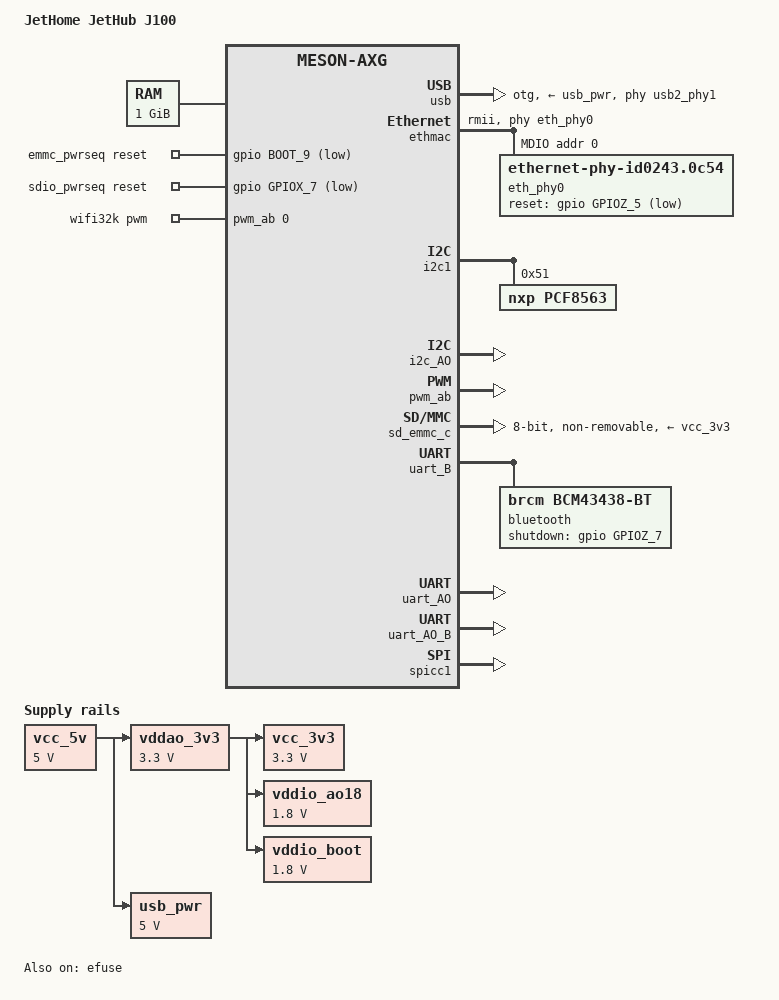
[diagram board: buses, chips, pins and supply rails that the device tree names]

/dts-v1/;

#include "meson-axg.dtsi"
#include <dt-bindings/input/input.h>
#include <dt-bindings/thermal/thermal.h>

/ {
	compatible = "jethome,j100", "amlogic,a113d", "amlogic,meson-axg";
	model = "JetHome JetHub J100";
	amlogic-dt-id = "axg_jethubj100_v1";

	aliases {
		serial0 = &uart_AO;   /* Console */
		serial1 = &uart_B;    /* Bluetooth */
		serial2 = &uart_AO_B; /* External UART (Wireless Module) */
		ethernet0 = &ethmac;
	};

	chosen {
		stdout-path = "serial0:115200n8";
	};

	/* 1024MB RAM */
	memory@0 {
		device_type = "memory";
		reg = <0x0 0x0 0x0 0x40000000>;
	};

	reserved-memory {
		#address-cells = <2>;
		#size-cells = <2>;
		ranges;
		linux,cma {
			compatible = "shared-dma-pool";
			reusable; size = <0x0 0x400000>;
			alignment = <0x0 0x400000>;
			linux,cma-default;
		};
	};

	emmc_pwrseq: emmc-pwrseq {
		compatible = "mmc-pwrseq-emmc";
		reset-gpios = <&gpio BOOT_9 GPIO_ACTIVE_LOW>;
	};

	vcc_3v3: regulator-vcc_3v3 {
		compatible = "regulator-fixed";
		regulator-name = "VCC_3V3";
		regulator-min-microvolt = <3300000>;
		regulator-max-microvolt = <3300000>;
		vin-supply = <&vddao_3v3>;
		regulator-always-on;
	};

	vcc_5v: regulator-vcc_5v {
		compatible = "regulator-fixed";
		regulator-name = "VCC5V";
		regulator-min-microvolt = <5000000>;
		regulator-max-microvolt = <5000000>;
		regulator-always-on;
	};

	vddao_3v3: regulator-vddao_3v3 {
		compatible = "regulator-fixed";
		regulator-name = "VDDAO_3V3";
		regulator-min-microvolt = <3300000>;
		regulator-max-microvolt = <3300000>;
		vin-supply = <&vcc_5v>;
		regulator-always-on;
	};

	vddio_ao18: regulator-vddio_ao18 {
		compatible = "regulator-fixed";
		regulator-name = "VDDIO_AO18";
		regulator-min-microvolt = <1800000>;
		regulator-max-microvolt = <1800000>;
		vin-supply = <&vddao_3v3>;
		regulator-always-on;
	};

	vddio_boot: regulator-vddio_boot {
		compatible = "regulator-fixed";
		regulator-name = "VDDIO_BOOT";
		regulator-min-microvolt = <1800000>;
		regulator-max-microvolt = <1800000>;
		vin-supply = <&vddao_3v3>;
		regulator-always-on;
	};

	usb_pwr: regulator-usb_pwr {
		compatible = "regulator-fixed";
		regulator-name = "USB_PWR";
		regulator-min-microvolt = <5000000>;
		regulator-max-microvolt = <5000000>;
		vin-supply = <&vcc_5v>;
		regulator-always-on;
	};

	sdio_pwrseq: sdio-pwrseq {
		compatible = "mmc-pwrseq-simple";
		reset-gpios = <&gpio GPIOX_7 GPIO_ACTIVE_LOW>;
		clocks = <&wifi32k>;
		clock-names = "ext_clock";
	};

	wifi32k: wifi32k {
		compatible = "pwm-clock";
		#clock-cells = <0>;
		clock-frequency = <32768>;
		pwms = <&pwm_ab 0 30518 0>; /* PWM_A at 32.768KHz */
	};

	partitions: partitions {
		parts = <1>;
		part-0 = <&rootfs>;
		rootfs: rootfs {
			pname = "rootfs";
			size = <0xffffffff 0xffffffff>;
			mask = <4>;
		};
	};

	efusekey: efusekey {
		keynum = <5>;
		key0 = <&key_0>;
		key1 = <&key_1>;
		key2 = <&key_2>;
		key3 = <&key_3>;
		key4 = <&key_4>;

		key_0: key_0 {
			keyname = "mac";
			offset = <0>;
			size = <6>;
		};
		key_1: key_1 {
			keyname = "mac_bt";
			offset = <6>;
			size = <6>;
		};
		key_2: key_2 {
			keyname = "mac_wifi";
			offset = <12>;
			size = <6>;
		};
		key_3: key_3 {
			keyname = "usid";
			offset = <18>;
			size = <32>;
		};
		key_4: key_4 {
			keyname = "serial";
			offset = <50>;
			size = <32>;
		};
	}; //End efusekey

	unifykey {
		compatible = "amlogic, unifykey";
		status = "ok";
		unifykey-num = <6>;
		unifykey-index-0 = <&keysn_0>;
		unifykey-index-1 = <&keysn_1>;
		unifykey-index-2 = <&keysn_2>;
		unifykey-index-3 = <&keysn_3>;
		unifykey-index-4 = <&keysn_4>;
		unifykey-index-5 = <&keysn_5>;

		keysn_0: key_0 {
			key-name = "usid";
			key-device = "normal";
			key-permit = "read";
		};
		keysn_1: key_1 {
			key-name = "mac";
			key-device = "normal";
			key-permit = "read";
		};
		keysn_2: key_2 {
			key-name = "mac_bt";
			key-device = "normal";
			key-permit = "read","write","del";
			key-type  = "mac";
		};
		keysn_3: key_3 {
			key-name = "mac_wifi";
			key-device = "normal";
			key-permit = "read","write","del";
			key-type = "mac";
		};
		keysn_4: key_4 {
			key-name = "serial";
			key-device = "normal";
			key-permit = "read";
		};
		keysn_5:key_5 {
			key-name = "deviceid";
			key-device = "normal";
			key-permit = "read","write","del";
		};
	}; //End unifykey
	soc {
		usb: usb@ffe09080 {
			compatible = "amlogic,meson-gxl-usb-ctrl";
			reg = <0x0 0xffe09080 0x0 0x20>;
			interrupts = <GIC_SPI 16 IRQ_TYPE_LEVEL_HIGH>;
			#address-cells = <2>;
			#size-cells = <2>;
			ranges;

			clocks = <&clkc CLKID_USB>, <&clkc CLKID_USB1_DDR_BRIDGE>;
			clock-names = "usb_ctrl", "ddr";
			resets = <&reset RESET_USB_OTG>;

			dr_mode = "otg";

			phys = <&usb2_phy1>;
			phy-names = "usb2-phy1";

			dwc2: usb@ff400000 {
				compatible = "amlogic,meson-gxl-usb", "snps,dwc2";
				reg = <0x0 0xff400000 0x0 0x40000>;
				interrupts = <GIC_SPI 31 IRQ_TYPE_LEVEL_HIGH>;
				clocks = <&clkc CLKID_USB1>;
				clock-names = "otg";
				phys = <&usb2_phy1>;
				dr_mode = "peripheral";
				g-rx-fifo-size = <192>;
				g-np-tx-fifo-size = <128>;
				g-tx-fifo-size = <128 128 16 16 16>;
			};

			dwc3: usb@ff500000 {
				compatible = "snps,dwc3";
				reg = <0x0 0xff500000 0x0 0x100000>;
				interrupts = <GIC_SPI 30 IRQ_TYPE_LEVEL_HIGH>;
				dr_mode = "host";
				maximum-speed = "high-speed";
				snps,dis_u2_susphy_quirk;
			};
		};
	};
	
	thermal-zones {
		cpu_thermal: cpu-thermal {
			polling-delay-passive = <250>;
			polling-delay = <1000>;
			thermal-sensors = <&scpi_sensors 0>;

			trips {
				cpu_passive: cpu-passive {
					temperature = <70000>; /* millicelsius */
					hysteresis = <2000>; /* millicelsius */
					type = "passive";
				};

				cpu_hot: cpu-hot {
					temperature = <80000>; /* millicelsius */
					hysteresis = <2000>; /* millicelsius */
					type = "hot";
				};

				cpu_critical: cpu-critical {
					temperature = <100000>; /* millicelsius */
					hysteresis = <2000>; /* millicelsius */
					type = "critical";
				};
			};
		};
		cpu_cooling_maps: cooling-maps {
			map0 {
				trip = <&cpu_passive>;
				cooling-device = <&cpu0 THERMAL_NO_LIMIT THERMAL_NO_LIMIT>,
						 <&cpu1 THERMAL_NO_LIMIT THERMAL_NO_LIMIT>,
						 <&cpu2 THERMAL_NO_LIMIT THERMAL_NO_LIMIT>,
						 <&cpu3 THERMAL_NO_LIMIT THERMAL_NO_LIMIT>;
			};

			map1 {
				trip = <&cpu_hot>;
				cooling-device = <&cpu0 THERMAL_NO_LIMIT THERMAL_NO_LIMIT>,
						 <&cpu1 THERMAL_NO_LIMIT THERMAL_NO_LIMIT>,
						 <&cpu2 THERMAL_NO_LIMIT THERMAL_NO_LIMIT>,
						 <&cpu3 THERMAL_NO_LIMIT THERMAL_NO_LIMIT>;
			};
		};
	};

};

&ethmac {
	status = "okay";
	pinctrl-0 = <&eth_rmii_x_pins>;
	pinctrl-names = "default";
	phy-handle = <&eth_phy0>;
	phy-mode = "rmii";
	internal_phy=<0>;
	interrupts = <GIC_SPI 8 IRQ_TYPE_LEVEL_HIGH>;

	mdio {
		compatible = "snps,dwmac-mdio";
		#address-cells = <1>;
		#size-cells = <0>;

		/* ICPlus IP101A/G Ethernet PHY (vendor_id=0x0243, model_id=0x0c54) */
		eth_phy0: ethernet-phy@0 {
			compatible = "ethernet-phy-id0243.0c54";
			max-speed = <100>;
			reg = <0>;

			reset-assert-us = <10000>;
			reset-deassert-us = <10000>;
			reset-gpios = <&gpio GPIOZ_5 GPIO_ACTIVE_LOW>;
		};
	};
};

/* Internal I2C bus (on CPU module) */
&i2c1 {
	status = "okay";
	pinctrl-0 = <&i2c1_z_pins>;
	pinctrl-names = "default";

	/* RTC */
	pcf8563: pcf8563@51 {
		compatible = "nxp,pcf8563";
		reg = <0x51>;
		status = "okay";
	};
};

/* Peripheral I2C bus (on motherboard) */
&i2c_AO {
	status = "okay";
	pinctrl-0 = <&i2c_ao_sck_10_pins>, <&i2c_ao_sda_11_pins>;
	pinctrl-names = "default";
};

&pwm_ab {
	status = "okay";
	pinctrl-0 = <&pwm_a_x20_pins>;
	pinctrl-names = "default";
};

/* wifi module */
&sd_emmc_b {
	status = "disable";
	#address-cells = <1>;
	#size-cells = <0>;

	pinctrl-0 = <&sdio_pins>;
	pinctrl-1 = <&sdio_clk_gate_pins>;
	pinctrl-names = "default", "clk-gate";

	bus-width = <4>;
	cap-sd-highspeed;
	sd-uhs-sdr104;
	max-frequency = <200000000>;
	non-removable;
	disable-wp;

	mmc-pwrseq = <&sdio_pwrseq>;

	vmmc-supply = <&vddao_3v3>;
	vqmmc-supply = <&vddio_boot>;

	brcmf: wifi@1 {
		reg = <1>;
		compatible = "brcm,bcm4329-fmac";
	};
};

/* emmc storage */
&sd_emmc_c {
	status = "okay";
	pinctrl-0 = <&emmc_pins>, <&emmc_ds_pins>;
	pinctrl-1 = <&emmc_clk_gate_pins>;
	pinctrl-names = "default", "clk-gate";

	bus-width = <8>;
	cap-mmc-highspeed;
	max-frequency = <200000000>;
	non-removable;
	disable-wp;
	mmc-ddr-1_8v;
	mmc-hs200-1_8v;

	mmc-pwrseq = <&emmc_pwrseq>;

	vmmc-supply = <&vcc_3v3>;
	vqmmc-supply = <&vddio_boot>;
};

/* UART Bluetooth */
&uart_B {
	status = "okay";
	pinctrl-0 = <&uart_b_z_pins>, <&uart_b_z_cts_rts_pins>;
	pinctrl-names = "default";
	uart-has-rtscts;

	bluetooth {
		compatible = "brcm,bcm43438-bt";
		shutdown-gpios = <&gpio GPIOZ_7 GPIO_ACTIVE_HIGH>;
	};
};

/* UART Console */
&uart_AO {
	status = "okay";
	pinctrl-0 = <&uart_ao_a_pins>;
	pinctrl-names = "default";
};

/* UART Wireless module */
&uart_AO_B {
	status = "okay";
	pinctrl-0 = <&uart_ao_b_pins>;
	pinctrl-names = "default";
};

&usb {
	status = "okay";
	phy-supply = <&usb_pwr>;
};

&spicc1 {
	status = "okay";
};

&audio {
	status = "disabled";
};

&efuse {
	status = "okay";
	compatible = "amlogic,meson-gxbb-efuse", "amlogic, efuse";
	read_cmd = <0x82000030>;
	write_cmd = <0x82000031>;
	get_max_cmd = <0x82000033>;
	key = <&efusekey>;
	clock-names = "efuse_clk";
};

&gpio_intc {
	compatible ="amlogic,meson-gpio-intc", "amlogic,meson-axg-gpio-intc";
	status = "okay";
};

&apb {
	usb2_phy1: phy@9020 {
		compatible = "amlogic,meson-gxl-usb2-phy";
		#phy-cells = <0>;
		reg = <0x0 0x9020 0x0 0x20>;
		clocks = <&clkc CLKID_USB>;
		clock-names = "phy";
		resets = <&reset RESET_USB_OTG>;
		reset-names = "phy";
	};
};

&cpu0 {
	#cooling-cells = <2>;
};

&cpu1 {
	#cooling-cells = <2>;
};

&cpu2 {
	#cooling-cells = <2>;
};

&cpu3 {
	#cooling-cells = <2>;
};
